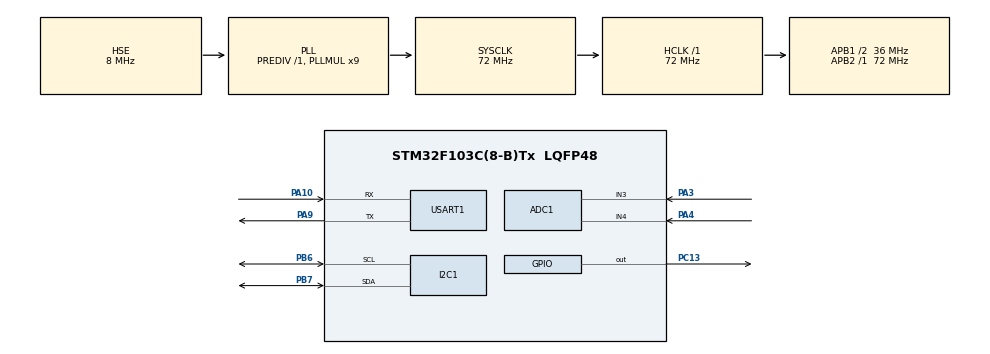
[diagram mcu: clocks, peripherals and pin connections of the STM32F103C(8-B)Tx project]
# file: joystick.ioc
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ADC1.Channel-3\#ChannelRegularConversion=ADC_CHANNEL_3
ADC1.Channel-4\#ChannelRegularConversion=ADC_CHANNEL_4
ADC1.ContinuousConvMode=ENABLE
ADC1.DataAlign=ADC_DATAALIGN_RIGHT
ADC1.EnableInjectedConversion=DISABLE
ADC1.EnableRegularConversion=ENABLE
ADC1.NbrOfConversion=2
ADC1.NbrOfConversionFlag=1
ADC1.Rank-3\#ChannelRegularConversion=1
ADC1.Rank-4\#ChannelRegularConversion=2
ADC1.SamplingTime-3\#ChannelRegularConversion=ADC_SAMPLETIME_55CYCLES_5
ADC1.SamplingTime-4\#ChannelRegularConversion=ADC_SAMPLETIME_71CYCLES_5
ADC1.master=1
Dma.ADC1.0.Direction=DMA_PERIPH_TO_MEMORY
Dma.ADC1.0.Instance=DMA1_Channel1
Dma.ADC1.0.MemDataAlignment=DMA_MDATAALIGN_HALFWORD
Dma.ADC1.0.MemInc=DMA_MINC_ENABLE
Dma.ADC1.0.Mode=DMA_CIRCULAR
Dma.ADC1.0.PeriphDataAlignment=DMA_PDATAALIGN_HALFWORD
Dma.ADC1.0.PeriphInc=DMA_PINC_DISABLE
Dma.ADC1.0.Priority=DMA_PRIORITY_LOW
Dma.Request0=ADC1
I2C1.OwnAddress=0x50
Mcu.Family=STM32F1
Mcu.Name=STM32F103C(8-B)Tx
Mcu.Package=LQFP48
NVIC.DMA1_Channel1_IRQn=true\:0\:0\:false\:false\:true\:false\:true\:true
NVIC.I2C1_ER_IRQn=true\:0\:0\:false\:false\:true\:true\:true\:true
NVIC.I2C1_EV_IRQn=true\:0\:0\:false\:false\:true\:true\:true\:true
NVIC.PriorityGroup=NVIC_PRIORITYGROUP_4
PA10.Mode=Asynchronous
PA10.Signal=USART1_RX
PA13.Mode=Serial_Wire
PA13.Signal=SYS_JTMS-SWDIO
PA14.Mode=Serial_Wire
PA14.Signal=SYS_JTCK-SWCLK
PA3.Signal=ADCx_IN3
PA4.Signal=ADCx_IN4
PA9.Mode=Asynchronous
PA9.Signal=USART1_TX
PB6.Mode=I2C
PB6.Signal=I2C1_SCL
PB7.Mode=I2C
PB7.Signal=I2C1_SDA
PC13-TAMPER-RTC.Signal=GPIO_Output
PD0-OSC_IN.Mode=HSE-External-Oscillator
PD0-OSC_IN.Signal=RCC_OSC_IN
PD1-OSC_OUT.Mode=HSE-External-Oscillator
PD1-OSC_OUT.Signal=RCC_OSC_OUT
ProjectManager.HeapSize=0x400
ProjectManager.StackSize=0x400
ProjectManager.TargetToolchain=STM32CubeIDE
RCC.ADCPresc=RCC_ADCPCLK2_DIV8
RCC.AHBFreq_Value=72000000
RCC.APB1CLKDivider=RCC_HCLK_DIV2
RCC.APB1Freq_Value=36000000
RCC.APB1TimFreq_Value=72000000
RCC.APB2Freq_Value=72000000
RCC.APB2TimFreq_Value=72000000
RCC.HCLKFreq_Value=72000000
RCC.PLLMUL=RCC_PLL_MUL9
RCC.PLLSourceVirtual=RCC_PLLSOURCE_HSE
RCC.SYSCLKFreq_VALUE=72000000
RCC.SYSCLKSource=RCC_SYSCLKSOURCE_PLLCLK
RCC.USBFreq_Value=72000000
SH.ADCx_IN3.0=ADC1_IN3,IN3
SH.ADCx_IN4.0=ADC1_IN4,IN4
USART1.VirtualMode=VM_ASYNC
board=custom

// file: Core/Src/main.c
/* USER CODE BEGIN Header */
/**
  ******************************************************************************
  * @file           : main.c
  * @brief          : Main program body
  ******************************************************************************
  * @attention
  *
  * Copyright (c) 2025 STMicroelectronics.
  * All rights reserved.
  *
  * This software is licensed under terms that can be found in the LICENSE file
  * in the root directory of this software component.
  * If no LICENSE file comes with this software, it is provided AS-IS.
  *
  ******************************************************************************
  */
/* USER CODE END Header */
#include "main.h"

/* USER CODE BEGIN Includes */
#include <string.h>
#include <stdio.h>
/* USER CODE END Includes */

ADC_HandleTypeDef hadc1;
DMA_HandleTypeDef hdma_adc1;

I2C_HandleTypeDef hi2c1;

UART_HandleTypeDef huart1;

void SystemClock_Config(void);
static void MX_GPIO_Init(void);
static void MX_DMA_Init(void);
static void MX_ADC1_Init(void);
static void MX_USART1_UART_Init(void);
static void MX_I2C1_Init(void);

/* USER CODE BEGIN 0 */
#ifdef __GNUC__
  /* With GCC, small printf (option LD Linker->Libraries->Small printf
     set to 'Yes') calls __io_putchar() */
  #define PUTCHAR_PROTOTYPE int __io_putchar(int ch)
#else
  #define PUTCHAR_PROTOTYPE int fputc(int ch, FILE *f)
#endif /* __GNUC__ */
PUTCHAR_PROTOTYPE
{
  HAL_UART_Transmit(&huart1, (uint8_t *)&ch, 1, HAL_MAX_DELAY);
  return ch;
}

uint16_t adc_value[2];
uint8_t i2c_tx_buf[4] = {0,0,0,0};

/* USER CODE END 0 */

int main(void)
{

  /* USER CODE BEGIN 1 */
  memset(&hi2c1, 0 ,sizeof(hi2c1));
  memset(&hadc1, 0 ,sizeof(hadc1));
  memset(&huart1, 0 ,sizeof(huart1));
  /* USER CODE END 1 */

  /* MCU Configuration--------------------------------------------------------*/

  /* Reset of all peripherals, Initializes the Flash interface and the Systick. */
  HAL_Init();

  /* Configure the system clock */
  SystemClock_Config();

  /* Initialize all configured peripherals */
  MX_GPIO_Init();
  MX_DMA_Init();
  MX_ADC1_Init();
  MX_USART1_UART_Init();
  MX_I2C1_Init();

  /* Infinite loop */
  /* USER CODE BEGIN WHILE */
  printf("stm32 start\r\n");
  HAL_GPIO_TogglePin(GPIOC,GPIO_PIN_13);
  while (1)
  {

    // printf("x: %u\r\n", adc_value[0]);
    // printf("y: %u\r\n", adc_value[1]);
    HAL_Delay(500);
    HAL_GPIO_TogglePin(GPIOC,GPIO_PIN_13);
    /* USER CODE END WHILE */

  }
}

void SystemClock_Config(void)
{
  RCC_OscInitTypeDef RCC_OscInitStruct = {0};
  RCC_ClkInitTypeDef RCC_ClkInitStruct = {0};
  RCC_PeriphCLKInitTypeDef PeriphClkInit = {0};

  /** Initializes the RCC Oscillators according to the specified parameters
  * in the RCC_OscInitTypeDef structure.
  */
  RCC_OscInitStruct.OscillatorType = RCC_OSCILLATORTYPE_HSE;
  RCC_OscInitStruct.HSEState = RCC_HSE_ON;
  RCC_OscInitStruct.HSEPredivValue = RCC_HSE_PREDIV_DIV1;
  RCC_OscInitStruct.HSIState = RCC_HSI_ON;
  RCC_OscInitStruct.PLL.PLLState = RCC_PLL_ON;
  RCC_OscInitStruct.PLL.PLLSource = RCC_PLLSOURCE_HSE;
  RCC_OscInitStruct.PLL.PLLMUL = RCC_PLL_MUL9;
  if (HAL_RCC_OscConfig(&RCC_OscInitStruct) != HAL_OK)
  {
    Error_Handler();
  }

  /** Initializes the CPU, AHB and APB buses clocks
  */
  RCC_ClkInitStruct.ClockType = RCC_CLOCKTYPE_HCLK|RCC_CLOCKTYPE_SYSCLK
                              |RCC_CLOCKTYPE_PCLK1|RCC_CLOCKTYPE_PCLK2;
  RCC_ClkInitStruct.SYSCLKSource = RCC_SYSCLKSOURCE_PLLCLK;
  RCC_ClkInitStruct.AHBCLKDivider = RCC_SYSCLK_DIV1;
  RCC_ClkInitStruct.APB1CLKDivider = RCC_HCLK_DIV2;
  RCC_ClkInitStruct.APB2CLKDivider = RCC_HCLK_DIV1;

  if (HAL_RCC_ClockConfig(&RCC_ClkInitStruct, FLASH_LATENCY_2) != HAL_OK)
  {
    Error_Handler();
  }
  PeriphClkInit.PeriphClockSelection = RCC_PERIPHCLK_ADC;
  PeriphClkInit.AdcClockSelection = RCC_ADCPCLK2_DIV8;
  if (HAL_RCCEx_PeriphCLKConfig(&PeriphClkInit) != HAL_OK)
  {
    Error_Handler();
  }
}

static void MX_ADC1_Init(void)
{

  ADC_ChannelConfTypeDef sConfig = {0};

  /** Common config
  */
  hadc1.Instance = ADC1;
  hadc1.Init.ScanConvMode = ADC_SCAN_ENABLE;
  hadc1.Init.ContinuousConvMode = ENABLE;
  hadc1.Init.DiscontinuousConvMode = DISABLE;
  hadc1.Init.ExternalTrigConv = ADC_SOFTWARE_START;
  hadc1.Init.DataAlign = ADC_DATAALIGN_RIGHT;
  hadc1.Init.NbrOfConversion = 2;
  if (HAL_ADC_Init(&hadc1) != HAL_OK)
  {
    Error_Handler();
  }

  /** Configure Regular Channel
  */
  sConfig.Channel = ADC_CHANNEL_3;
  sConfig.Rank = ADC_REGULAR_RANK_1;
  sConfig.SamplingTime = ADC_SAMPLETIME_55CYCLES_5;
  if (HAL_ADC_ConfigChannel(&hadc1, &sConfig) != HAL_OK)
  {
    Error_Handler();
  }

  /** Configure Regular Channel
  */
  sConfig.Channel = ADC_CHANNEL_4;
  sConfig.Rank = ADC_REGULAR_RANK_2;
  sConfig.SamplingTime = ADC_SAMPLETIME_71CYCLES_5;
  if (HAL_ADC_ConfigChannel(&hadc1, &sConfig) != HAL_OK)
  {
    Error_Handler();
  }
  /* USER CODE BEGIN ADC1_Init 2 */
  // HAL_ADC_Start_IT(&hadc1);
  HAL_ADC_Start_DMA(&hadc1, (uint32_t *)adc_value, 2);
  /* USER CODE END ADC1_Init 2 */

}

static void MX_I2C1_Init(void)
{

  hi2c1.Instance = I2C1;
  hi2c1.Init.ClockSpeed = 100000;
  hi2c1.Init.DutyCycle = I2C_DUTYCYCLE_2;
  hi2c1.Init.OwnAddress1 = 160;
  hi2c1.Init.AddressingMode = I2C_ADDRESSINGMODE_7BIT;
  hi2c1.Init.DualAddressMode = I2C_DUALADDRESS_DISABLE;
  hi2c1.Init.OwnAddress2 = 0;
  hi2c1.Init.GeneralCallMode = I2C_GENERALCALL_DISABLE;
  hi2c1.Init.NoStretchMode = I2C_NOSTRETCH_DISABLE;
  if (HAL_I2C_Init(&hi2c1) != HAL_OK)
  {
    Error_Handler();
  }
  /* USER CODE BEGIN I2C1_Init 2 */
  HAL_I2C_EnableListen_IT(&hi2c1);
  /* USER CODE END I2C1_Init 2 */

}

static void MX_USART1_UART_Init(void)
{

  /* USER CODE BEGIN USART1_Init 1 */
  huart1.gState = HAL_UART_STATE_RESET;
  /* USER CODE END USART1_Init 1 */
  huart1.Instance = USART1;
  huart1.Init.BaudRate = 115200;
  huart1.Init.WordLength = UART_WORDLENGTH_8B;
  huart1.Init.StopBits = UART_STOPBITS_1;
  huart1.Init.Parity = UART_PARITY_NONE;
  huart1.Init.Mode = UART_MODE_TX_RX;
  huart1.Init.HwFlowCtl = UART_HWCONTROL_NONE;
  huart1.Init.OverSampling = UART_OVERSAMPLING_16;
  if (HAL_UART_Init(&huart1) != HAL_OK)
  {
    Error_Handler();
  }

}

static void MX_DMA_Init(void)
{

  /* DMA controller clock enable */
  __HAL_RCC_DMA1_CLK_ENABLE();

  /* DMA interrupt init */
  /* DMA1_Channel1_IRQn interrupt configuration */
  HAL_NVIC_SetPriority(DMA1_Channel1_IRQn, 0, 0);
  HAL_NVIC_EnableIRQ(DMA1_Channel1_IRQn);

}

static void MX_GPIO_Init(void)
{
  GPIO_InitTypeDef GPIO_InitStruct = {0};

  /* GPIO Ports Clock Enable */
  __HAL_RCC_GPIOC_CLK_ENABLE();
  __HAL_RCC_GPIOD_CLK_ENABLE();
  __HAL_RCC_GPIOA_CLK_ENABLE();
  __HAL_RCC_GPIOB_CLK_ENABLE();

  /*Configure GPIO pin Output Level */
  HAL_GPIO_WritePin(GPIOC, GPIO_PIN_13, GPIO_PIN_RESET);

  /*Configure GPIO pin : PC13 */
  GPIO_InitStruct.Pin = GPIO_PIN_13;
  GPIO_InitStruct.Mode = GPIO_MODE_OUTPUT_PP;
  GPIO_InitStruct.Pull = GPIO_NOPULL;
  GPIO_InitStruct.Speed = GPIO_SPEED_FREQ_LOW;
  HAL_GPIO_Init(GPIOC, &GPIO_InitStruct);

}

void Error_Handler(void)
{
  __disable_irq();
  while (1)
  {
  }
}
